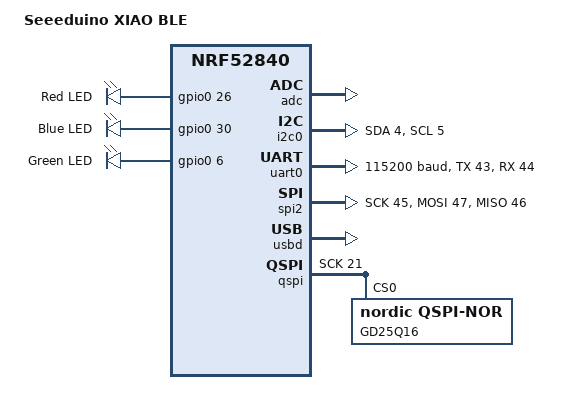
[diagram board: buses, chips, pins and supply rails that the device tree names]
/*
 * Copyright (c) 2021 The ZMK Contributors
 *
 * SPDX-License-Identifier: MIT
 */

#include <nordic/nrf52840_qiaa.dtsi>
#include "arduino_pro_micro_pins.dtsi"

/ {
	model = "Seeeduino XIAO BLE";
	compatible = "seeed,xiao_ble";

	chosen {
		zephyr,code-partition = &code_partition;
		zephyr,sram = &sram0;
		zephyr,flash = &flash0;
	};

	/* These aliases are provided for compatibility with samples */
	aliases {
		led0 = &led0;
		led1 = &led1;
		led2 = &led2;
	};

	leds {
		compatible = "gpio-leds";
		led0: led_0 {
			gpios = <&gpio0 26 0>;
			label = "Red LED";
		};
		led1: led_1 {
			gpios = <&gpio0 30 0>;
			label = "Blue LED";
		};
		led2: led_2 {
			gpios = <&gpio0 6 0>;
			label = "Green LED";
		};
	};
};

&adc {
	status = "okay";
};

&gpiote {
	status = "okay";
};

&gpio0 {
	status = "okay";
};

&gpio1 {
	status = "okay";
};

&i2c0 {
	compatible = "nordic,nrf-twi";
	sda-pin = <4>;
	scl-pin = <5>;
};

&uart0 {
	compatible = "nordic,nrf-uarte";
	current-speed = <115200>;
	tx-pin = <43>;
	rx-pin = <44>;
};

&spi2 {
	compatible = "nordic,nrf-spi";
	mosi-pin = <47>;
	miso-pin = <46>;
	sck-pin = <45>;
};

zephyr_udc0: &usbd {
	compatible = "nordic,nrf-usbd";
	status = "okay";
};

&qspi {
        status = "okay";
        sck-pin = <21>;
        io-pins = <20>, <24>, <22>, <23>;
        csn-pins = <25>;
	// TODO: VERIFY THESE!
        gd25q16: gd25q16@0 {
                /* NOTE: Quad mode not supported as driver does not handle
                 * QE bit setting in SR2. Ref. GD25Q16C, Rev 3.0, p. 12.
                 */
                compatible = "nordic,qspi-nor";
                reg = <0>;
                writeoc = "pp2o";
                readoc = "read2io";
                sck-frequency = <16000000>;
                label = "GD25Q16";
                jedec-id = [c8 40 15];
                size = <2097152>;
                has-dpd;
                t-enter-dpd = <20000>;
                t-exit-dpd = <20000>;
        };
};

&flash0 {
	/*
	 * For more information, see:
	 * http://docs.zephyrproject.org/latest/devices/dts/flash_partitions.html
	 */
	partitions {
		compatible = "fixed-partitions";
		#address-cells = <1>;
		#size-cells = <1>;

		sd_partition: partition@0 {
			label = "softdevice";
			reg = <0x00000000 0x00026000>;
		};

		code_partition: partition@27000 {
			label = "code_partition";
			reg = <0x00027000 0x000c5000>;
		};

		/*
		 * The flash starting at 0x000ec000 and ending at
		 * 0x000f3fff is reserved for use by the application.
		 */

		/*
		 * Storage partition will be used by FCB/LittleFS/NVS
		 * if enabled.
		 */
		storage_partition: partition@ec000 {
			label = "storage";
			reg = <0x000ec000 0x00008000>;
		};

		boot_partition: partition@f4000 {
			label = "adafruit_boot";
			reg = <0x000f4000 0x0000c000>;
		};
	};
};
